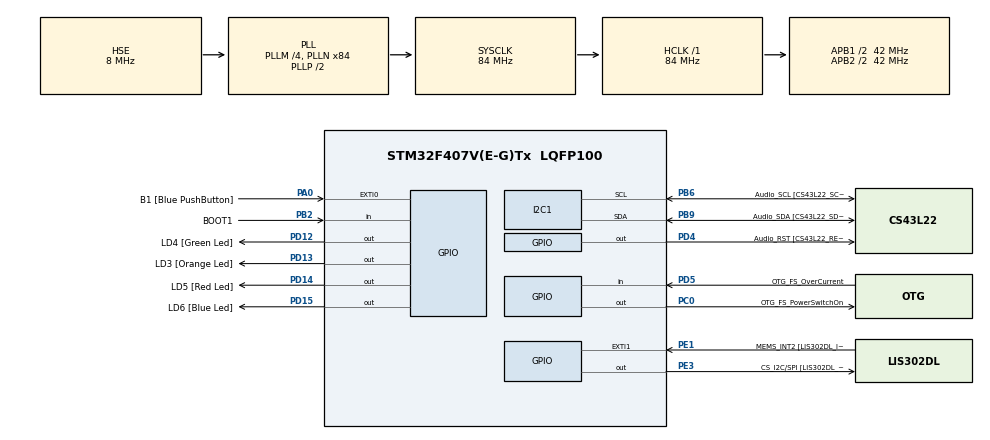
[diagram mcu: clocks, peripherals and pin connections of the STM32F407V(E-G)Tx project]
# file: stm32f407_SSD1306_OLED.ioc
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I2C1.I2C_Mode=I2C_Fast
Mcu.Family=STM32F4
Mcu.Name=STM32F407V(E-G)Tx
Mcu.Package=LQFP100
NVIC.PriorityGroup=NVIC_PRIORITYGROUP_0
PA0-WKUP.GPIO_Label=B1 [Blue PushButton]
PA0-WKUP.Signal=GPXTI0
PA10.GPIO_Label=OTG_FS_ID
PA10.GPIO_Mode=GPIO_MODE_AF_PP
PA10.GPIO_PuPd=GPIO_NOPULL
PA10.GPIO_Speed=GPIO_SPEED_FREQ_LOW
PA10.Signal=USB_OTG_FS_ID
PA11.GPIO_Label=OTG_FS_DM
PA11.GPIO_Mode=GPIO_MODE_AF_PP
PA11.GPIO_PuPd=GPIO_NOPULL
PA11.GPIO_Speed=GPIO_SPEED_FREQ_LOW
PA11.Signal=USB_OTG_FS_DM
PA12.GPIO_Label=OTG_FS_DP
PA12.GPIO_Mode=GPIO_MODE_AF_PP
PA12.GPIO_PuPd=GPIO_NOPULL
PA12.GPIO_Speed=GPIO_SPEED_FREQ_LOW
PA12.Signal=USB_OTG_FS_DP
PA13.GPIO_Label=SWDIO
PA13.Signal=SYS_JTMS-SWDIO
PA14.GPIO_Label=SWCLK
PA14.Signal=SYS_JTCK-SWCLK
PA4.GPIO_Label=I2S3_WS [CS43L22_LRCK]
PA4.GPIO_Mode=GPIO_MODE_AF_PP
PA4.GPIO_PuPd=GPIO_NOPULL
PA4.GPIO_Speed=GPIO_SPEED_FREQ_LOW
PA4.Signal=I2S3_WS
PA5.GPIO_Label=SPI1_SCK [LIS302DL_SCL/SPC]
PA5.GPIO_Mode=GPIO_MODE_AF_PP
PA5.GPIO_PuPd=GPIO_NOPULL
PA5.GPIO_Speed=GPIO_SPEED_FREQ_LOW
PA5.Signal=SPI1_SCK
PA6.GPIO_Label=SPI1_MISO [LIS302DL_SDO]
PA6.GPIO_Mode=GPIO_MODE_AF_PP
PA6.GPIO_PuPd=GPIO_NOPULL
PA6.GPIO_Speed=GPIO_SPEED_FREQ_LOW
PA6.Signal=SPI1_MISO
PA7.GPIO_Label=SPI1_MOSI [LIS302DL_SDA/SDI/SDO]
PA7.GPIO_Mode=GPIO_MODE_AF_PP
PA7.GPIO_PuPd=GPIO_NOPULL
PA7.GPIO_Speed=GPIO_SPEED_FREQ_LOW
PA7.Signal=SPI1_MOSI
PA9.GPIO_Label=VBUS_FS
PA9.GPIO_Mode=GPIO_MODE_INPUT
PA9.GPIO_PuPd=GPIO_NOPULL
PA9.Signal=USB_OTG_FS_VBUS
PB10.GPIO_Label=CLK_IN [MP45DT02_CLK]
PB10.GPIO_Mode=GPIO_MODE_AF_PP
PB10.GPIO_PuPd=GPIO_NOPULL
PB10.GPIO_Speed=GPIO_SPEED_FREQ_LOW
PB10.Signal=I2S2_CK
PB2.GPIO_Label=BOOT1
PB2.GPIO_Mode=GPIO_MODE_INPUT
PB2.GPIO_PuPd=GPIO_NOPULL
PB2.Signal=GPIO_Input
PB3.GPIO_Label=SWO
PB3.Signal=SYS_JTDO-SWO
PB6.GPIO_Label=Audio_SCL [CS43L22_SCL]
PB6.GPIO_Mode=GPIO_MODE_AF_OD
PB6.GPIO_PuPd=GPIO_NOPULL
PB6.GPIO_Speed=GPIO_SPEED_FREQ_LOW
PB6.Mode=I2C
PB6.Signal=I2C1_SCL
PB9.GPIO_Label=Audio_SDA [CS43L22_SDA]
PB9.GPIO_Mode=GPIO_MODE_AF_OD
PB9.GPIO_PuPd=GPIO_NOPULL
PB9.GPIO_Speed=GPIO_SPEED_FREQ_LOW
PB9.Mode=I2C
PB9.Signal=I2C1_SDA
PC0.GPIO_Label=OTG_FS_PowerSwitchOn
PC0.GPIO_PuPd=GPIO_NOPULL
PC0.GPIO_Speed=GPIO_SPEED_FREQ_LOW
PC0.PinState=GPIO_PIN_SET
PC0.Signal=GPIO_Output
PC10.GPIO_Label=I2S3_SCK [CS43L22_SCLK]
PC10.GPIO_Mode=GPIO_MODE_AF_PP
PC10.GPIO_PuPd=GPIO_NOPULL
PC10.GPIO_Speed=GPIO_SPEED_FREQ_LOW
PC10.Signal=I2S3_CK
PC12.GPIO_Label=I2S3_SD [CS43L22_SDIN]
PC12.GPIO_Mode=GPIO_MODE_AF_PP
PC12.GPIO_PuPd=GPIO_NOPULL
PC12.GPIO_Speed=GPIO_SPEED_FREQ_LOW
PC12.Signal=I2S3_SD
PC14-OSC32_IN.GPIO_Label=PC14-OSC32_IN
PC14-OSC32_IN.Signal=RCC_OSC32_IN
PC15-OSC32_OUT.GPIO_Label=PC15-OSC32_OUT
PC15-OSC32_OUT.Signal=RCC_OSC32_OUT
PC3.GPIO_Label=PDM_OUT [MP45DT02_DOUT]
PC3.GPIO_Mode=GPIO_MODE_AF_PP
PC3.GPIO_PuPd=GPIO_NOPULL
PC3.GPIO_Speed=GPIO_SPEED_FREQ_LOW
PC3.Signal=I2S2_SD
PC7.GPIO_Label=I2S3_MCK [CS43L22_MCLK]
PC7.GPIO_Mode=GPIO_MODE_AF_PP
PC7.GPIO_PuPd=GPIO_NOPULL
PC7.GPIO_Speed=GPIO_SPEED_FREQ_LOW
PC7.Signal=I2S3_MCK
PD12.GPIO_Label=LD4 [Green Led]
PD12.GPIO_PuPd=GPIO_NOPULL
PD12.GPIO_Speed=GPIO_SPEED_FREQ_LOW
PD12.Signal=GPIO_Output
PD13.GPIO_Label=LD3 [Orange Led]
PD13.GPIO_PuPd=GPIO_NOPULL
PD13.GPIO_Speed=GPIO_SPEED_FREQ_LOW
PD13.Signal=GPIO_Output
PD14.GPIO_Label=LD5 [Red Led]
PD14.GPIO_PuPd=GPIO_NOPULL
PD14.GPIO_Speed=GPIO_SPEED_FREQ_LOW
PD14.Signal=GPIO_Output
PD15.GPIO_Label=LD6 [Blue Led]
PD15.GPIO_PuPd=GPIO_NOPULL
PD15.GPIO_Speed=GPIO_SPEED_FREQ_LOW
PD15.Signal=GPIO_Output
PD4.GPIO_Label=Audio_RST [CS43L22_RESET]
PD4.GPIO_PuPd=GPIO_NOPULL
PD4.GPIO_Speed=GPIO_SPEED_FREQ_LOW
PD4.Signal=GPIO_Output
PD5.GPIO_Label=OTG_FS_OverCurrent
PD5.GPIO_Mode=GPIO_MODE_INPUT
PD5.GPIO_PuPd=GPIO_NOPULL
PD5.Signal=GPIO_Input
PE1.GPIO_Label=MEMS_INT2 [LIS302DL_INT2]
PE1.GPIO_ModeDefaultEXTI=GPIO_MODE_EVT_RISING
PE1.GPIO_PuPd=GPIO_NOPULL
PE1.Signal=GPXTI1
PE3.GPIO_Label=CS_I2C/SPI [LIS302DL_CS_I2C/SPI]
PE3.GPIO_PuPd=GPIO_NOPULL
PE3.GPIO_Speed=GPIO_SPEED_FREQ_LOW
PE3.Signal=GPIO_Output
PH0-OSC_IN.GPIO_Label=PH0-OSC_IN
PH0-OSC_IN.Mode=HSE-External-Oscillator
PH0-OSC_IN.Signal=RCC_OSC_IN
PH1-OSC_OUT.GPIO_Label=PH1-OSC_OUT
PH1-OSC_OUT.Mode=HSE-External-Oscillator
PH1-OSC_OUT.Signal=RCC_OSC_OUT
ProjectManager.HeapSize=0x200
ProjectManager.StackSize=0x400
ProjectManager.TargetToolchain=STM32CubeIDE
RCC.48MHZClocksFreq_Value=24000000
RCC.AHBFreq_Value=84000000
RCC.APB1CLKDivider=RCC_HCLK_DIV2
RCC.APB1Freq_Value=42000000
RCC.APB1TimFreq_Value=84000000
RCC.APB2CLKDivider=RCC_HCLK_DIV2
RCC.APB2Freq_Value=42000000
RCC.APB2TimFreq_Value=84000000
RCC.CortexFreq_Value=84000000
RCC.HCLKFreq_Value=84000000
RCC.HSE_VALUE=8000000
RCC.HSI_VALUE=16000000
RCC.LSE_VALUE=32768
RCC.PLLM=4
RCC.PLLN=84
RCC.PLLQ=7
RCC.PLLSourceVirtual=RCC_PLLSOURCE_HSE
RCC.SYSCLKFreq_VALUE=84000000
RCC.SYSCLKSource=RCC_SYSCLKSOURCE_PLLCLK
RCC.VCOOutputFreq_Value=168000000
board=STM32F407G-DISC1

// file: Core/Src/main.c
/* USER CODE BEGIN Header */
/* USER CODE END Header */
#include "main.h"

/* USER CODE BEGIN Includes */
#include "ssd1306.h"
#include "fonts.h"
/* USER CODE END Includes */

I2C_HandleTypeDef hi2c1;

void SystemClock_Config(void);
static void MX_GPIO_Init(void);
static void MX_I2C1_Init(void);

int main(void)
{

  /* MCU Configuration--------------------------------------------------------*/

  /* Reset of all peripherals, Initializes the Flash interface and the Systick. */
  HAL_Init();

  /* Configure the system clock */
  SystemClock_Config();

  /* Initialize all configured peripherals */
  MX_GPIO_Init();
  MX_I2C1_Init();
  /* USER CODE BEGIN 2 */
  if (HAL_I2C_IsDeviceReady(&hi2c1, SSD1306_I2C_ADDR , 2, 50) == HAL_OK)
  {
	  HAL_GPIO_WritePin(GPIOD, GPIO_PIN_15, 1);
  }

  if (ssd1306_Init(&hi2c1) != 0) {
      Error_Handler();
    }
    //HAL_Delay(1000);

    ssd1306_Fill(Black);
    ssd1306_UpdateScreen(&hi2c1);

    //HAL_Delay(1000);

    // Write data to local screenbuffer
    ssd1306_SetCursor(0, 0);
    ssd1306_WriteString("Mutex", Font_11x18, White);

    ssd1306_SetCursor(0, 36);
    ssd1306_WriteString("Firmware", Font_11x18, White);

    // Draw rectangle on screen
    for (uint8_t i=0; i<28; i++) {
        for (uint8_t j=0; j<64; j++) {
            ssd1306_DrawPixel(100+i, 0+j, White);
        }
    }

    // Copy all data from local screenbuffer to the screen
    ssd1306_UpdateScreen(&hi2c1);

  /* USER CODE END 2 */

  /* Infinite loop */

}

void SystemClock_Config(void)
{
  RCC_OscInitTypeDef RCC_OscInitStruct = {0};
  RCC_ClkInitTypeDef RCC_ClkInitStruct = {0};

  /** Configure the main internal regulator output voltage
  */
  __HAL_RCC_PWR_CLK_ENABLE();
  __HAL_PWR_VOLTAGESCALING_CONFIG(PWR_REGULATOR_VOLTAGE_SCALE1);

  /** Initializes the RCC Oscillators according to the specified parameters
  * in the RCC_OscInitTypeDef structure.
  */
  RCC_OscInitStruct.OscillatorType = RCC_OSCILLATORTYPE_HSE;
  RCC_OscInitStruct.HSEState = RCC_HSE_ON;
  RCC_OscInitStruct.PLL.PLLState = RCC_PLL_ON;
  RCC_OscInitStruct.PLL.PLLSource = RCC_PLLSOURCE_HSE;
  RCC_OscInitStruct.PLL.PLLM = 4;
  RCC_OscInitStruct.PLL.PLLN = 84;
  RCC_OscInitStruct.PLL.PLLP = RCC_PLLP_DIV2;
  RCC_OscInitStruct.PLL.PLLQ = 7;
  if (HAL_RCC_OscConfig(&RCC_OscInitStruct) != HAL_OK)
  {
    Error_Handler();
  }

  /** Initializes the CPU, AHB and APB buses clocks
  */
  RCC_ClkInitStruct.ClockType = RCC_CLOCKTYPE_HCLK|RCC_CLOCKTYPE_SYSCLK
                              |RCC_CLOCKTYPE_PCLK1|RCC_CLOCKTYPE_PCLK2;
  RCC_ClkInitStruct.SYSCLKSource = RCC_SYSCLKSOURCE_PLLCLK;
  RCC_ClkInitStruct.AHBCLKDivider = RCC_SYSCLK_DIV1;
  RCC_ClkInitStruct.APB1CLKDivider = RCC_HCLK_DIV2;
  RCC_ClkInitStruct.APB2CLKDivider = RCC_HCLK_DIV2;

  if (HAL_RCC_ClockConfig(&RCC_ClkInitStruct, FLASH_LATENCY_2) != HAL_OK)
  {
    Error_Handler();
  }
}

static void MX_I2C1_Init(void)
{

  hi2c1.Instance = I2C1;
  hi2c1.Init.ClockSpeed = 400000;
  hi2c1.Init.DutyCycle = I2C_DUTYCYCLE_2;
  hi2c1.Init.OwnAddress1 = 0;
  hi2c1.Init.AddressingMode = I2C_ADDRESSINGMODE_7BIT;
  hi2c1.Init.DualAddressMode = I2C_DUALADDRESS_DISABLE;
  hi2c1.Init.OwnAddress2 = 0;
  hi2c1.Init.GeneralCallMode = I2C_GENERALCALL_DISABLE;
  hi2c1.Init.NoStretchMode = I2C_NOSTRETCH_DISABLE;
  if (HAL_I2C_Init(&hi2c1) != HAL_OK)
  {
    Error_Handler();
  }

}

static void MX_GPIO_Init(void)
{
  GPIO_InitTypeDef GPIO_InitStruct = {0};

  /* GPIO Ports Clock Enable */
  __HAL_RCC_GPIOE_CLK_ENABLE();
  __HAL_RCC_GPIOC_CLK_ENABLE();
  __HAL_RCC_GPIOH_CLK_ENABLE();
  __HAL_RCC_GPIOA_CLK_ENABLE();
  __HAL_RCC_GPIOB_CLK_ENABLE();
  __HAL_RCC_GPIOD_CLK_ENABLE();

  /*Configure GPIO pin Output Level */
  HAL_GPIO_WritePin(CS_I2C_SPI_GPIO_Port, CS_I2C_SPI_Pin, GPIO_PIN_RESET);

  /*Configure GPIO pin Output Level */
  HAL_GPIO_WritePin(OTG_FS_PowerSwitchOn_GPIO_Port, OTG_FS_PowerSwitchOn_Pin, GPIO_PIN_SET);

  /*Configure GPIO pin Output Level */
  HAL_GPIO_WritePin(GPIOD, LD4_Pin|LD3_Pin|LD5_Pin|LD6_Pin
                          |Audio_RST_Pin, GPIO_PIN_RESET);

  /*Configure GPIO pin : CS_I2C_SPI_Pin */
  GPIO_InitStruct.Pin = CS_I2C_SPI_Pin;
  GPIO_InitStruct.Mode = GPIO_MODE_OUTPUT_PP;
  GPIO_InitStruct.Pull = GPIO_NOPULL;
  GPIO_InitStruct.Speed = GPIO_SPEED_FREQ_LOW;
  HAL_GPIO_Init(CS_I2C_SPI_GPIO_Port, &GPIO_InitStruct);

  /*Configure GPIO pin : OTG_FS_PowerSwitchOn_Pin */
  GPIO_InitStruct.Pin = OTG_FS_PowerSwitchOn_Pin;
  GPIO_InitStruct.Mode = GPIO_MODE_OUTPUT_PP;
  GPIO_InitStruct.Pull = GPIO_NOPULL;
  GPIO_InitStruct.Speed = GPIO_SPEED_FREQ_LOW;
  HAL_GPIO_Init(OTG_FS_PowerSwitchOn_GPIO_Port, &GPIO_InitStruct);

  /*Configure GPIO pin : PDM_OUT_Pin */
  GPIO_InitStruct.Pin = PDM_OUT_Pin;
  GPIO_InitStruct.Mode = GPIO_MODE_AF_PP;
  GPIO_InitStruct.Pull = GPIO_NOPULL;
  GPIO_InitStruct.Speed = GPIO_SPEED_FREQ_LOW;
  GPIO_InitStruct.Alternate = GPIO_AF5_SPI2;
  HAL_GPIO_Init(PDM_OUT_GPIO_Port, &GPIO_InitStruct);

  /*Configure GPIO pin : B1_Pin */
  GPIO_InitStruct.Pin = B1_Pin;
  GPIO_InitStruct.Mode = GPIO_MODE_IT_RISING;
  GPIO_InitStruct.Pull = GPIO_NOPULL;
  HAL_GPIO_Init(B1_GPIO_Port, &GPIO_InitStruct);

  /*Configure GPIO pin : I2S3_WS_Pin */
  GPIO_InitStruct.Pin = I2S3_WS_Pin;
  GPIO_InitStruct.Mode = GPIO_MODE_AF_PP;
  GPIO_InitStruct.Pull = GPIO_NOPULL;
  GPIO_InitStruct.Speed = GPIO_SPEED_FREQ_LOW;
  GPIO_InitStruct.Alternate = GPIO_AF6_SPI3;
  HAL_GPIO_Init(I2S3_WS_GPIO_Port, &GPIO_InitStruct);

  /*Configure GPIO pins : SPI1_SCK_Pin SPI1_MISO_Pin SPI1_MOSI_Pin */
  GPIO_InitStruct.Pin = SPI1_SCK_Pin|SPI1_MISO_Pin|SPI1_MOSI_Pin;
  GPIO_InitStruct.Mode = GPIO_MODE_AF_PP;
  GPIO_InitStruct.Pull = GPIO_NOPULL;
  GPIO_InitStruct.Speed = GPIO_SPEED_FREQ_LOW;
  GPIO_InitStruct.Alternate = GPIO_AF5_SPI1;
  HAL_GPIO_Init(GPIOA, &GPIO_InitStruct);

  /*Configure GPIO pin : BOOT1_Pin */
  GPIO_InitStruct.Pin = BOOT1_Pin;
  GPIO_InitStruct.Mode = GPIO_MODE_INPUT;
  GPIO_InitStruct.Pull = GPIO_NOPULL;
  HAL_GPIO_Init(BOOT1_GPIO_Port, &GPIO_InitStruct);

  /*Configure GPIO pin : CLK_IN_Pin */
  GPIO_InitStruct.Pin = CLK_IN_Pin;
  GPIO_InitStruct.Mode = GPIO_MODE_AF_PP;
  GPIO_InitStruct.Pull = GPIO_NOPULL;
  GPIO_InitStruct.Speed = GPIO_SPEED_FREQ_LOW;
  GPIO_InitStruct.Alternate = GPIO_AF5_SPI2;
  HAL_GPIO_Init(CLK_IN_GPIO_Port, &GPIO_InitStruct);

  /*Configure GPIO pins : LD4_Pin LD3_Pin LD5_Pin LD6_Pin
                           Audio_RST_Pin */
  GPIO_InitStruct.Pin = LD4_Pin|LD3_Pin|LD5_Pin|LD6_Pin
                          |Audio_RST_Pin;
  GPIO_InitStruct.Mode = GPIO_MODE_OUTPUT_PP;
  GPIO_InitStruct.Pull = GPIO_NOPULL;
  GPIO_InitStruct.Speed = GPIO_SPEED_FREQ_LOW;
  HAL_GPIO_Init(GPIOD, &GPIO_InitStruct);

  /*Configure GPIO pins : I2S3_MCK_Pin I2S3_SCK_Pin I2S3_SD_Pin */
  GPIO_InitStruct.Pin = I2S3_MCK_Pin|I2S3_SCK_Pin|I2S3_SD_Pin;
  GPIO_InitStruct.Mode = GPIO_MODE_AF_PP;
  GPIO_InitStruct.Pull = GPIO_NOPULL;
  GPIO_InitStruct.Speed = GPIO_SPEED_FREQ_LOW;
  GPIO_InitStruct.Alternate = GPIO_AF6_SPI3;
  HAL_GPIO_Init(GPIOC, &GPIO_InitStruct);

  /*Configure GPIO pin : VBUS_FS_Pin */
  GPIO_InitStruct.Pin = VBUS_FS_Pin;
  GPIO_InitStruct.Mode = GPIO_MODE_INPUT;
  GPIO_InitStruct.Pull = GPIO_NOPULL;
  HAL_GPIO_Init(VBUS_FS_GPIO_Port, &GPIO_InitStruct);

  /*Configure GPIO pins : OTG_FS_ID_Pin OTG_FS_DM_Pin OTG_FS_DP_Pin */
  GPIO_InitStruct.Pin = OTG_FS_ID_Pin|OTG_FS_DM_Pin|OTG_FS_DP_Pin;
  GPIO_InitStruct.Mode = GPIO_MODE_AF_PP;
  GPIO_InitStruct.Pull = GPIO_NOPULL;
  GPIO_InitStruct.Speed = GPIO_SPEED_FREQ_LOW;
  GPIO_InitStruct.Alternate = GPIO_AF10_OTG_FS;
  HAL_GPIO_Init(GPIOA, &GPIO_InitStruct);

  /*Configure GPIO pin : OTG_FS_OverCurrent_Pin */
  GPIO_InitStruct.Pin = OTG_FS_OverCurrent_Pin;
  GPIO_InitStruct.Mode = GPIO_MODE_INPUT;
  GPIO_InitStruct.Pull = GPIO_NOPULL;
  HAL_GPIO_Init(OTG_FS_OverCurrent_GPIO_Port, &GPIO_InitStruct);

  /*Configure GPIO pin : MEMS_INT2_Pin */
  GPIO_InitStruct.Pin = MEMS_INT2_Pin;
  GPIO_InitStruct.Mode = GPIO_MODE_EVT_RISING;
  GPIO_InitStruct.Pull = GPIO_NOPULL;
  HAL_GPIO_Init(MEMS_INT2_GPIO_Port, &GPIO_InitStruct);

}

void Error_Handler(void)
{
}
